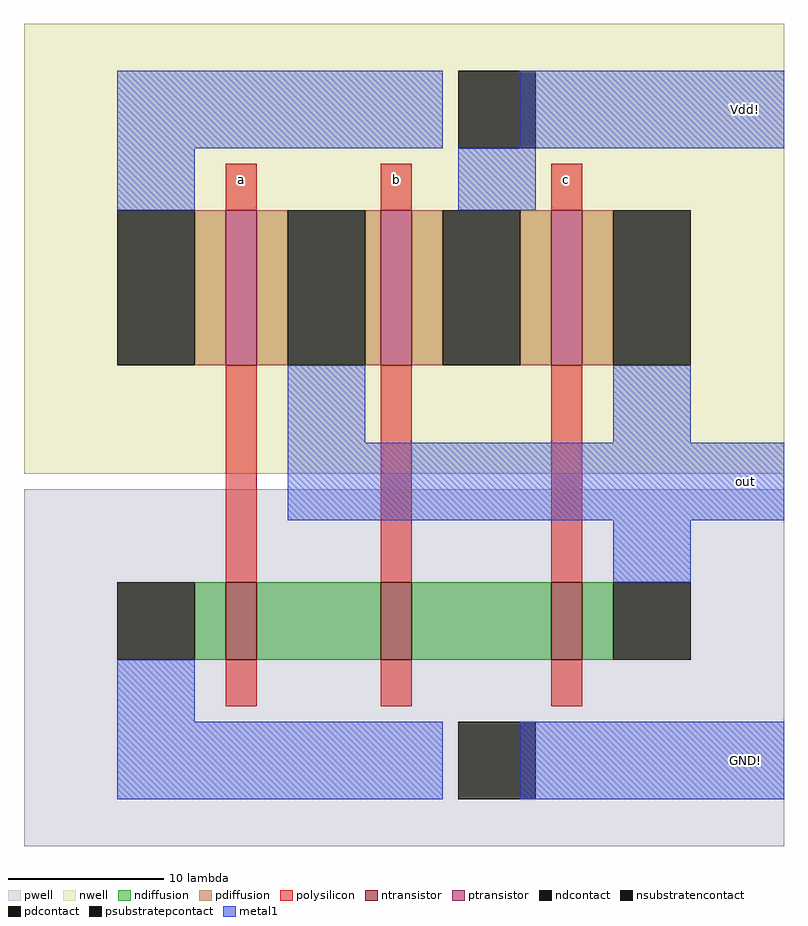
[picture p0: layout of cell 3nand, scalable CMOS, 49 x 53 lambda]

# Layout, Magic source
magic
tech scmos
<< nwell >>
rect 72 54 121 83
<< pwell >>
rect 72 30 121 53
<< ntransistor >>
rect 85 42 87 47
rect 95 42 97 47
rect 106 42 108 47
<< ptransistor >>
rect 85 61 87 71
rect 95 61 97 71
rect 106 61 108 71
<< ndiffusion >>
rect 83 42 85 47
rect 87 42 95 47
rect 97 42 106 47
rect 108 42 110 47
<< pdiffusion >>
rect 83 61 85 71
rect 87 61 89 71
rect 94 61 95 71
rect 97 61 99 71
rect 104 61 106 71
rect 108 61 110 71
<< ndcontact >>
rect 78 42 83 47
rect 110 42 115 47
<< pdcontact >>
rect 78 61 83 71
rect 89 61 94 71
rect 99 61 104 71
rect 110 61 115 71
<< psubstratepcontact >>
rect 100 33 105 38
<< nsubstratencontact >>
rect 100 75 105 80
<< polysilicon >>
rect 85 71 87 74
rect 95 71 97 74
rect 106 71 108 74
rect 85 47 87 61
rect 95 47 97 61
rect 106 47 108 61
rect 85 39 87 42
rect 95 39 97 42
rect 106 39 108 42
<< metal1 >>
rect 78 75 99 80
rect 104 75 121 80
rect 78 71 83 75
rect 100 71 105 75
rect 89 56 94 61
rect 110 56 115 61
rect 89 51 121 56
rect 110 47 115 51
rect 78 38 83 42
rect 78 33 99 38
rect 104 33 121 38
<< labels >>
rlabel polysilicon 85 72 87 74 1 a
rlabel polysilicon 95 72 97 74 1 b
rlabel metal1 116 33 121 38 7 GND!
rlabel metal1 116 75 121 80 7 Vdd!
rlabel polysilicon 106 72 108 74 1 c
rlabel metal1 116 51 121 56 7 out
<< end >>
